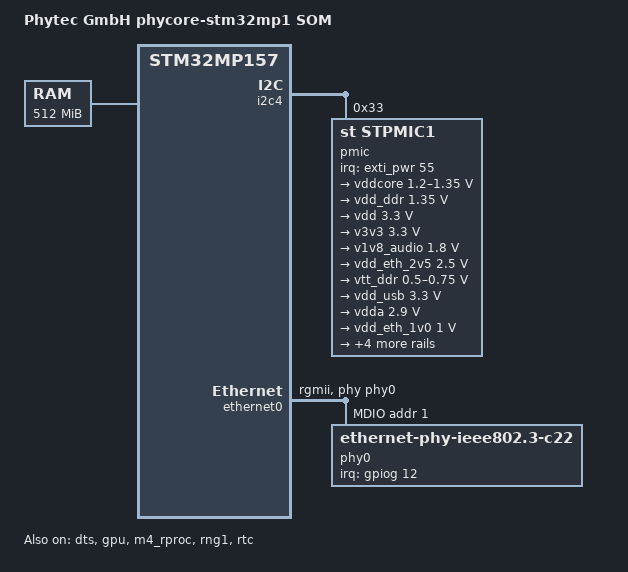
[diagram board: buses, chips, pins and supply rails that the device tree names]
// SPDX-License-Identifier: (GPL-2.0+ OR BSD-3-Clause)
/*
 * Copyright (C) PHYTEC GmbH 2019-2020 - All Rights Reserved
 * Author: Dom VOVARD <dom.vovard@linrt.com>.
 */

/dts-v1/;

#include "stm32mp157c.dtsi"
#include "phycore-stm32mp157cac-pinctrl.dtsi"
#include "stm32mp157c-m4-srm.dtsi"
#include <dt-bindings/gpio/gpio.h>
#include <dt-bindings/input/input.h>
#include <dt-bindings/mfd/st,stpmic1.h>
#include <dt-bindings/net/ti-dp83867.h>
#include <dt-bindings/rtc/rtc-stm32.h>


/ {
        model = "Phytec GmbH phycore-stm32mp1 SOM";
        compatible = "phytec,PCM-068-1534-0-005", "st,stm32mp157";

        memory@c0000000 {
                reg = <0xc0000000 0x20000000>;
        };

	aliases {
		mmc0 = &sdmmc1;
		mmc1 = &sdmmc2;
                mmc2 = &sdmmc3;
	};

        reserved-memory {
                #address-cells = <1>;
                #size-cells = <1>;
                ranges;

                retram: retram@0x38000000 {
                        compatible = "shared-dma-pool";
                        reg = <0x38000000 0x10000>;
                        no-map;
                };

                mcuram: mcuram@0x30000000 {
                        compatible = "shared-dma-pool";
                        reg = <0x30000000 0x40000>;
                        no-map;
                };

                mcuram2: mcuram2@0x10000000 {
                        compatible = "shared-dma-pool";
                        reg = <0x10000000 0x40000>;
                        no-map;
                };

                vdev0vring0: vdev0vring0@10040000 {
                        compatible = "shared-dma-pool";
                        reg = <0x10040000 0x2000>;
                        no-map;
                };

                vdev0vring1: vdev0vring1@10042000 {
                        compatible = "shared-dma-pool";
                        reg = <0x10042000 0x2000>;
                        no-map;
                };

                vdev0buffer: vdev0buffer@10044000 {
                        compatible = "shared-dma-pool";
                        reg = <0x10044000 0x4000>;
                        no-map;
                };

                gpu_reserved: gpu@f8000000 {
                        reg = <0xf8000000 0x8000000>;
                        no-map;
                };
        };

        sram: sram@10050000 {
                compatible = "mmio-sram";
                reg = <0x10050000 0x10000>;
                #address-cells = <1>;
                #size-cells = <1>;
                ranges = <0 0x10050000 0x10000>;

                dma_pool: dma_pool@0 {
                        reg = <0x0 0x10000>;
                        pool;
                };
        };
};

&dma1 {
        sram = <&dma_pool>;
};

&dma2 {
        sram = <&dma_pool>;
};

&dts {
        status = "okay";
};

&gpu {
        contiguous-area = <&gpu_reserved>;
        status = "okay";
};

&i2c4 {
        pinctrl-names = "default", "sleep";
        pinctrl-0 = <&i2c4_pins_a>;
        pinctrl-1 = <&i2c4_pins_sleep_a>;
        i2c-scl-rising-time-ns = <185>;
        i2c-scl-falling-time-ns = <20>;
        status = "okay";
        /delete-property/dmas;
        /delete-property/dma-names;

        pmic: stpmic@33 {
                compatible = "st,stpmic1";
                reg = <0x33>;
                interrupts-extended = <&exti_pwr 55 IRQ_TYPE_EDGE_FALLING>;
                interrupt-controller;
                #interrupt-cells = <2>;
                status = "okay";

                st,main-control-register = <0x04>;
                st,vin-control-register = <0xc0>;
                st,usb-control-register = <0x20>;

                regulators {
                        compatible = "st,stpmic1-regulators";

                        ldo1-supply = <&v3v3>;
                        ldo2-supply = <&v3v3>;
                        ldo3-supply = <&vdd_ddr>;
                        ldo5-supply = <&v3v3>;
                        ldo6-supply = <&v3v3>;
                        pwr_sw1-supply = <&bst_out>;
                        pwr_sw2-supply = <&bst_out>;

                        vddcore: buck1 {
                                regulator-name = "vddcore";
                                regulator-min-microvolt = <1200000>;
                                regulator-max-microvolt = <1350000>;
                                regulator-always-on;
                                regulator-initial-mode = <0>;
                                regulator-over-current-protection;
                        };

                        vdd_ddr: buck2 {
                                regulator-name = "vdd_ddr";
                                regulator-min-microvolt = <1350000>;
                                regulator-max-microvolt = <1350000>;
                                regulator-always-on;
                                regulator-initial-mode = <0>;
                                regulator-over-current-protection;
                        };

                        vdd: buck3 {
                                regulator-name = "vdd";
                                regulator-min-microvolt = <3300000>;
                                regulator-max-microvolt = <3300000>;
                                regulator-always-on;
                                st,mask-reset;
                                regulator-initial-mode = <0>;
                                regulator-over-current-protection;
                        };

                        v3v3: buck4 {
                                regulator-name = "v3v3";
                                regulator-min-microvolt = <3300000>;
                                regulator-max-microvolt = <3300000>;
                                regulator-always-on;
                                regulator-over-current-protection;
                                regulator-initial-mode = <0>;
                        };

                        v1v8_audio: ldo1 {
                                regulator-name = "v1v8_audio";
                                regulator-min-microvolt = <1800000>;
                                regulator-max-microvolt = <1800000>;
                                regulator-always-on;
                                interrupts = <IT_CURLIM_LDO1 0>;

                        };

                        vdd_eth_2v5: ldo2 {
                                regulator-name = "dd_eth_2v5";
                                regulator-min-microvolt = <2500000>;
                                regulator-max-microvolt = <2500000>;
                                regulator-always-on;
                                interrupts = <IT_CURLIM_LDO2 0>;

                        };

                        vtt_ddr: ldo3 {
                                regulator-name = "vtt_ddr";
                                regulator-min-microvolt = <500000>;
                                regulator-max-microvolt = <750000>;
                                regulator-always-on;
                                regulator-over-current-protection;
                        };

                        vdd_usb: ldo4 {
                                regulator-name = "vdd_usb";
                                regulator-min-microvolt = <3300000>;
                                regulator-max-microvolt = <3300000>;
                                interrupts = <IT_CURLIM_LDO4 0>;
                        };

                        vdda: ldo5 {
                                regulator-name = "vdda";
                                regulator-min-microvolt = <2900000>;
                                regulator-max-microvolt = <2900000>;
                                interrupts = <IT_CURLIM_LDO5 0>;
                                regulator-boot-on;
                        };

                        vdd_eth_1v0: ldo6 {
                                regulator-name = "vdd_eth_1v0";
                                regulator-min-microvolt = <1000000>;
                                regulator-max-microvolt = <1000000>;
                                regulator-always-on;
                                interrupts = <IT_CURLIM_LDO6 0>;

                        };

                        vref_ddr: vref_ddr {
                                regulator-name = "vref_ddr";
                                regulator-always-on;
                                regulator-over-current-protection;
                        };

                        bst_out: boost {
                                regulator-name = "bst_out";
                                interrupts = <IT_OCP_BOOST 0>;
                        };

                        vbus_otg: pwr_sw1 {
                                regulator-name = "vbus_otg";
                                interrupts = <IT_OCP_OTG 0>;
                                regulator-active-discharge;
                        };

                        vbus_sw: pwr_sw2 {
                                regulator-name = "vbus_sw";
                                interrupts = <IT_OCP_SWOUT 0>;
                                regulator-active-discharge;
                        };
                };

                onkey {
                        compatible = "st,stpmic1-onkey";
                        interrupts = <IT_PONKEY_F 0>, <IT_PONKEY_R 1>;
                        interrupt-names = "onkey-falling", "onkey-rising";
                        status = "okay";
                };

                watchdog {
                        compatible = "st,stpmic1-wdt";
                        status = "disabled";
                };
        };

        i2c4_eeprom: eeprom@50 {
                compatible = "microchip,24c32", "atmel,24c32";
                reg = <0x50>;
		status = "disabled";
        };

        i2c4_rtc: rtc@52 {
                compatible = "microcrystal,rv3028";
                reg = <0x52>;
                /*interrupt-parent = <&gpio5>;
                interrupts = <1 IRQ_TYPE_LEVEL_LOW>;*/
		backup-switchover-mode = /bits/ 8 <0x03>;
                status = "disabled";
        };
};

&ethernet0 {
        status = "okay";
        pinctrl-0 = <&ethernet0_rgmii_pins_a>;
        pinctrl-1 = <&ethernet0_rgmii_pins_sleep_a>;
        pinctrl-names = "default", "sleep";
        phy-mode = "rgmii";
        max-speed = <1000>;
        phy-handle = <&phy0>;
        st,eth_clk_sel = <1>;

        mdio0 {
                #address-cells = <1>;
                #size-cells = <0>;
                compatible = "snps,dwmac-mdio";

                phy0: ethernet-phy@1 {
                        compatible = "ethernet-phy-ieee802.3-c22";
                        reg = <1>;
                        interrupt-parent = <&gpiog>;
                        interrupts = <12 IRQ_TYPE_EDGE_FALLING>;
                        ti,rx-internal-delay = <DP83867_RGMIIDCTL_2_00_NS>;
                        ti,tx-internal-delay = <DP83867_RGMIIDCTL_2_00_NS>;
                        ti,fifo-depth = <DP83867_PHYCR_FIFO_DEPTH_4_B_NIB>;
                        ti,min-output-impedance;
                        enet-phy-lane-no-swap;
			ti,clk-output-sel = <DP83867_CLK_O_SEL_OFF>;
                };
        };
};

&m4_rproc {
        memory-region = <&retram>, <&mcuram>, <&mcuram2>, <&vdev0vring0>,
                        <&vdev0vring1>, <&vdev0buffer>;
        mboxes = <&ipcc 0>, <&ipcc 1>, <&ipcc 2>;
        mbox-names = "vq0", "vq1", "shutdown";
        interrupt-parent = <&exti>;
        interrupts = <68 1>;
        interrupt-names = "wdg";
        recovery;
        status = "okay";
};

&ipcc {
        status = "okay";
};

&iwdg2 {
        timeout-sec = <32>;
        status = "disabled";
};

&pwr {
        pwr-supply = <&vdd>;
};

&rng1 {
        status = "okay";
};

&rtc {
        status = "okay";
};

&qspi {
        pinctrl-names = "default", "sleep";
        pinctrl-0 = <&qspi_clk_pins_a &qspi_bk1_pins_a>;
        pinctrl-1 = <&qspi_clk_sleep_pins_a &qspi_bk1_sleep_pins_a>;
        reg = <0x58003000 0x1000>, <0x70000000 0x4000000>;
        #address-cells = <1>;
        #size-cells = <0>;
        status = "disabled";

        flash0: w25q128@0 {
                compatible = "winbond,w25q128", "jedec,spi-nor", "spi-flash";
                reg = <0>;
                spi-rx-bus-width = <4>;
                spi-max-frequency = <50000000>;
                m25p,fast-read;
                #address-cells = <1>;
                #size-cells = <1>;
        };
};

&fmc {
        pinctrl-names = "default", "sleep";
        pinctrl-0 = <&fmc_pins_a>;
        pinctrl-1 = <&fmc_sleep_pins_a>;
        status = "disabled";
        #address-cells = <1>;
        #size-cells = <0>;

        nand: nand@0 {
                reg = <0>;
                nand-on-flash-bbt;
                nand-ecc-strength = <4>;
                nand-ecc-step-size = <512>;
                #address-cells = <1>;
                #size-cells = <1>;
        };
};

&sdmmc2 {
        pinctrl-names = "default", "opendrain", "sleep";
        pinctrl-0 = <&sdmmc2_b4_pins_a &sdmmc2_d47_pins_a>;
        pinctrl-1 = <&sdmmc2_b4_od_pins_a &sdmmc2_d47_pins_a>;
        pinctrl-2 = <&sdmmc2_b4_sleep_pins_a &sdmmc2_d47_sleep_pins_a>;
        non-removable;
        no-sd;
        no-sdio;
        st,neg-edge;
        bus-width = <8>;
        vmmc-supply = <&v3v3>;
        vqmmc-supply = <&v3v3>;
        mmc-ddr-3_3v;
        status = "disabled";
};

